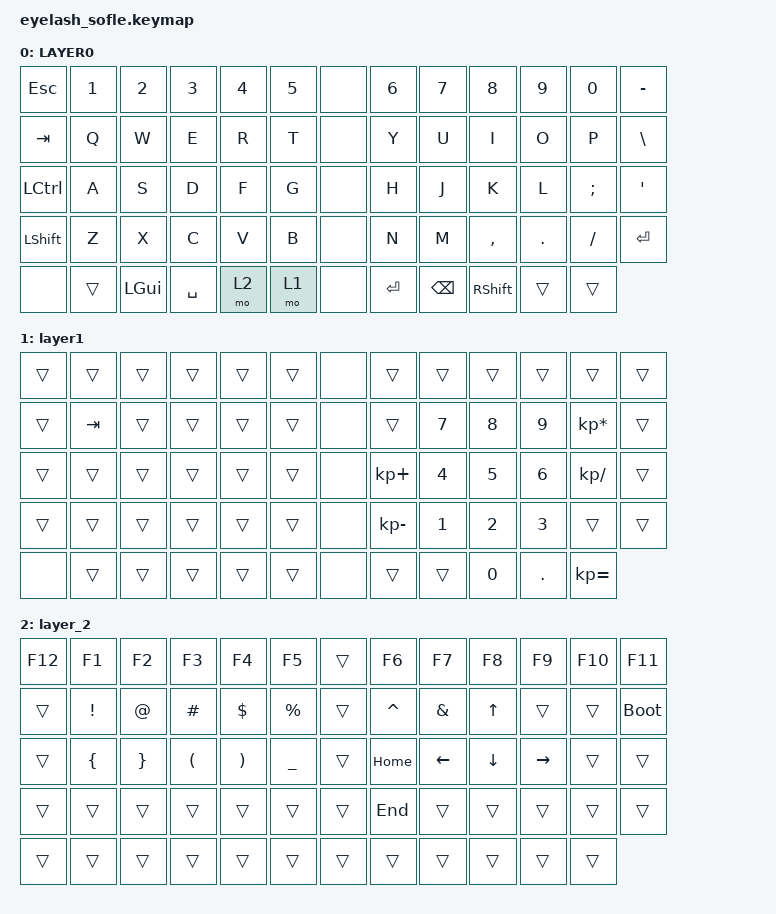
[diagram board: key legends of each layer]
#define ZMK_POINTING_DEFAULT_MOVE_VAL 1200  // 600
#define ZMK_POINTING_DEFAULT_SCRL_VAL 25   // 10

#include <input/processors.dtsi>
#include <zephyr/dt-bindings/input/input-event-codes.h>
#include <behaviors.dtsi>
#include <dt-bindings/zmk/keys.h>
#include <dt-bindings/zmk/pointing.h>

&mmv_input_listener { input-processors = <&zip_xy_scaler 2 1>; };

&msc_input_listener { input-processors = <&zip_scroll_scaler 2 1>; };

&msc {
    acceleration-exponent = <1>;      // 0
    time-to-max-speed-ms = <100>;       // 300
    delay-ms = <0>;                   // 0
};

&mmv {
    time-to-max-speed-ms = <500>;
    acceleration-exponent = <1>;
    trigger-period-ms = <16>;
};

&soft_off { hold-time-ms = <2000>; };

/ {
    scroll_encoder: scroll_encoder {
        compatible = "zmk,behavior-sensor-rotate";
        #sensor-binding-cells = <0>;
        bindings = <&msc SCRL_DOWN>, <&msc SCRL_UP>;

        tap-ms = <100>;
    };

    behaviors {
    };

    combos {
        compatible = "zmk,combos";

        softoff {
            bindings = <&soft_off>;
            key-positions = <14 28 40>;
        };
    };

    keymap {
        compatible = "zmk,keymap";

        layer0 {
            bindings = <
&kp ESC    &kp N1  &kp N2        &kp N3     &kp N4  &kp N5    &none  &kp N6     &kp N7         &kp N8           &kp N9   &kp N0    &kp MINUS
&kp TAB    &kp Q   &kp W         &kp E      &kp R   &kp T     &none  &kp Y      &kp U          &kp I            &kp O    &kp P     &kp BSLH
&kp LCTRL  &kp A   &kp S         &kp D      &kp F   &kp G     &none  &kp H      &kp J          &kp K            &kp L    &kp SEMI  &kp APOS
&kp LSHFT  &kp Z   &kp X         &kp C      &kp V   &kp B     &none  &kp N      &kp M          &kp COMMA        &kp DOT  &kp FSLH  &kp ENTER
&none      &trans  &kp LEFT_GUI  &kp SPACE  &mo 2   &mo 1     &none  &kp ENTER  &kp BACKSPACE  &kp RIGHT_SHIFT  &trans   &trans
            >;

            display-name = "LAYER0";
        };

        layer_1 {
            bindings = <
&trans  &trans   &trans  &trans  &trans  &trans    &none  &trans        &trans        &trans        &trans        &trans           &trans
&trans  &kp TAB  &trans  &trans  &trans  &trans    &none  &trans        &kp NUMBER_7  &kp NUMBER_8  &kp NUMBER_9  &kp KP_MULTIPLY  &trans
&trans  &trans   &trans  &trans  &trans  &trans    &none  &kp KP_PLUS   &kp NUMBER_4  &kp NUMBER_5  &kp NUMBER_6  &kp KP_DIVIDE    &trans
&trans  &trans   &trans  &trans  &trans  &trans    &none  &kp KP_MINUS  &kp NUMBER_1  &kp NUMBER_2  &kp NUMBER_3  &trans           &trans
&none   &trans   &trans  &trans  &trans  &trans    &none  &trans        &trans        &kp NUMBER_0  &kp PERIOD    &kp KP_EQUAL
            >;

            display-name = "layer1";
        };

        layer_2 {
            bindings = <
&kp F12  &kp F1           &kp F2           &kp F3                &kp F4                 &kp F5            &trans  &kp F6     &kp F7         &kp F8    &kp F9     &kp F10  &kp F11
&trans   &kp EXCLAMATION  &kp AT_SIGN      &kp HASH              &kp DOLLAR             &kp PERCENT       &trans  &kp CARET  &kp AMPERSAND  &kp UP    &trans     &trans   &bootloader
&trans   &kp LEFT_BRACE   &kp RIGHT_BRACE  &kp LEFT_PARENTHESIS  &kp RIGHT_PARENTHESIS  &kp UNDERSCORE    &trans  &kp HOME   &kp LEFT       &kp DOWN  &kp RIGHT  &trans   &trans
&trans   &trans           &trans           &trans                &trans                 &trans            &trans  &kp END    &trans         &trans    &trans     &trans   &trans
&trans   &trans           &trans           &trans                &trans                 &trans            &trans  &trans     &trans         &trans    &trans     &trans
            >;
        };
    };
};
